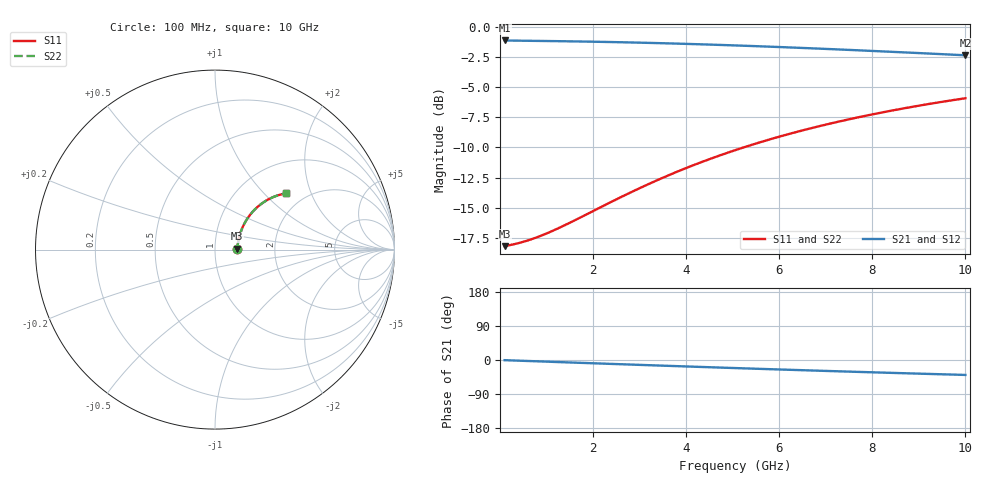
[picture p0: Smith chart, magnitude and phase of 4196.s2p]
# Hz S RI R 50.00
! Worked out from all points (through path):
!   100 points, 100 MHz to 10 GHz, reference 50 ohm
!   highest |S21| = -1.14 dB at 100 MHz (marker M1); lowest = -2.4 dB at 10 GHz (marker M2)
!   group delay of S21, straight-line fit = 11 ps
!   lowest |S11| = -18.2 dB at 100 MHz (marker M3), VSWR 1.28, Z = 64.1 + j0.649 ohm
!   |S11| at or under -10 dB: start of sweep to 5.231 GHz
!   |S22| runs from -18.2 to -5.9 dB; largest |S21 - S12| = 0
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1e8  0.1234 0.00499  0.8766 -0.00665  0.8766 -0.00665  0.1234 0.00499
3e8  0.125 0.0149  0.875 -0.0199  0.875 -0.0199  0.125 0.0149
5e8  0.1263 0.0248  0.8736 -0.0331  0.8736 -0.0331  0.1263 0.0248
8e8  0.1286 0.0395  0.8713 -0.0528  0.8713 -0.0528  0.1286 0.0395
1e9  0.1304 0.0492  0.8694 -0.0659  0.8694 -0.0659  0.1304 0.0492
1.2e9  0.1324 0.0588  0.8673 -0.0788  0.8673 -0.0788  0.1324 0.0588
1.8e9  0.14 0.0873  0.8595 -0.1173  0.8595 -0.1173  0.14 0.0873
2.7e9  0.1555 0.128  0.8434 -0.1731  0.8434 -0.1731  0.1555 0.128
3.1e9  0.164 0.1452  0.8345 -0.197  0.8345 -0.197  0.164 0.1452
3.4e9  0.1709 0.1576  0.8273 -0.2144  0.8273 -0.2144  0.1709 0.1576
3.8e9  0.1809 0.1736  0.8169 -0.2372  0.8169 -0.2372  0.1809 0.1736
4.2e9  0.1917 0.1889  0.8056 -0.2591  0.8056 -0.2591  0.1917 0.1889
4.6e9  0.2033 0.2033  0.7935 -0.2803  0.7935 -0.2803  0.2033 0.2033
5.1e9  0.2186 0.2202  0.7775 -0.3057  0.7775 -0.3057  0.2186 0.2202
5.5e9  0.2315 0.2328  0.7639 -0.325  0.7639 -0.325  0.2315 0.2328
5.9e9  0.2449 0.2445  0.7498 -0.3435  0.7498 -0.3435  0.2449 0.2445
6.3e9  0.2588 0.2553  0.7352 -0.3611  0.7352 -0.3611  0.2588 0.2553
6.7e9  0.273 0.2652  0.7202 -0.3778  0.7202 -0.3778  0.273 0.2652
7.5e9  0.3023 0.2823  0.6891 -0.4085  0.6891 -0.4085  0.3023 0.2823
8.4e9  0.3361 0.2973  0.6531 -0.439  0.6531 -0.439  0.3361 0.2973
9.2e9  0.3664 0.307  0.6207 -0.4626  0.6207 -0.4626  0.3664 0.307
1e10  0.3965 0.3136  0.5882 -0.483  0.5882 -0.483  0.3965 0.3136
